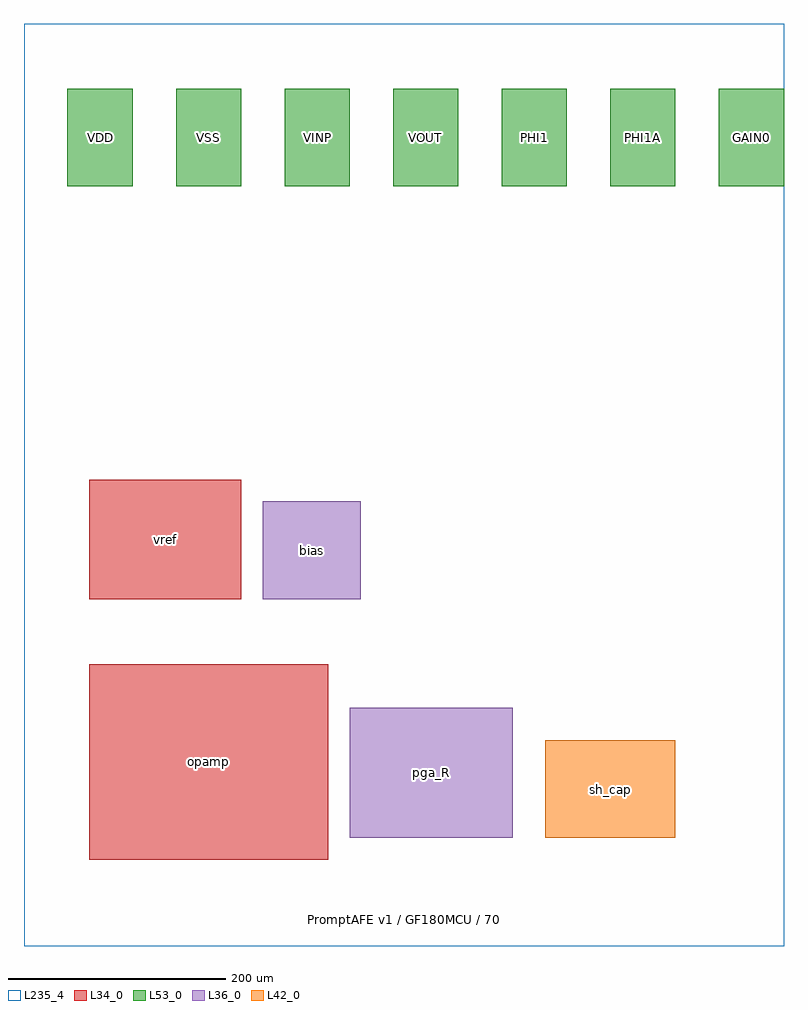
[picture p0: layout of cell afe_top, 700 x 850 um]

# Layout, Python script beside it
"""Generate the PromptAFE chiplet floorplan as a GDS using gdstk.

Floorplan-level GDS — die outline + block placement + pad ring + labels.
Defines the physical envelope of the AFE chiplet (700 × 850 µm = 0.595 mm²)
and the pin layout that interfaces with the SenseEdge digital chiplet via
the BoW-Lite die-to-die bus.

Layers are placeholder GF180 aliases; actual GDS layer numbers are pulled
from the GF180MCU technology file during the real transistor-level layout
step (next session — done via gLayout or Magic with PCells).

This is the SYSTEM-LEVEL physical view. The transistor-level GDS lives
below this, generated per-block, instantiated into these regions.
"""

import gdstk

# Layer assignments (GF180 placeholders)
L_OUTLINE  = (235, 4)
L_METAL1   = (34,  0)
L_METAL2   = (36,  0)
L_METAL3   = (42,  0)
L_METAL4   = (46,  0)
L_PAD      = (53,  0)
L_LABEL    = (235, 5)

DIE_W = 700
DIE_H = 850


def rect(x, y, w, h, layer):
    return gdstk.rectangle((x, y), (x + w, y + h), layer=layer[0],
                           datatype=layer[1])


def label(text, x, y, layer):
    return gdstk.Label(text=text, origin=(x, y), layer=layer[0],
                       texttype=layer[1])


def build():
    lib = gdstk.Library(name="PromptAFE", unit=1e-6, precision=1e-9)
    top = lib.new_cell("afe_top")

    # Die outline
    top.add(rect(0, 0, DIE_W, DIE_H, L_OUTLINE))

    # Blocks
    blocks = [
        ("opamp",  60,  80, 220, 180, L_METAL1),
        ("pga_R",  300, 100, 150, 120, L_METAL2),
        ("sh_cap", 480, 100, 120, 90,  L_METAL3),
        ("vref",   60,  320, 140, 110, L_METAL1),
        ("bias",   220, 320, 90,  90,  L_METAL2),
    ]
    for name, x, y, w, h, lyr in blocks:
        top.add(rect(x, y, w, h, lyr))
        top.add(label(name, x + w / 2, y + h / 2, L_LABEL))

    # Pad ring (top side: 12 pads)
    pad_w, pad_h, pitch = 60, 90, 100
    y_pad = 700
    pads = ["VDD", "VSS", "VINP", "VOUT", "PHI1", "PHI1A",
            "GAIN0", "GAIN1", "GAIN2", "VREF", "VBN", "TEST"]
    for i, p in enumerate(pads):
        x_pad = 40 + i * pitch
        # Pads only fit if x_pad + pad_w < DIE_W
        if x_pad + pad_w > DIE_W:
            break
        top.add(rect(x_pad, y_pad, pad_w, pad_h, L_PAD))
        top.add(label(p, x_pad + pad_w / 2, y_pad + pad_h / 2, L_LABEL))

    # Title
    top.add(label("PromptAFE v1 / GF180MCU / 700x850 um",
                  DIE_W / 2, 25, L_LABEL))

    return lib


if __name__ == "__main__":
    lib = build()
    import os
    out = os.environ.get("AFE_OUT_GDS", "/scratch/afe_floorplan.gds")
    lib.write_gds(out)
    print(f"wrote {out}")
    print(f"die area: {DIE_W} x {DIE_H} = {DIE_W * DIE_H / 1e6:.3f} mm^2")
